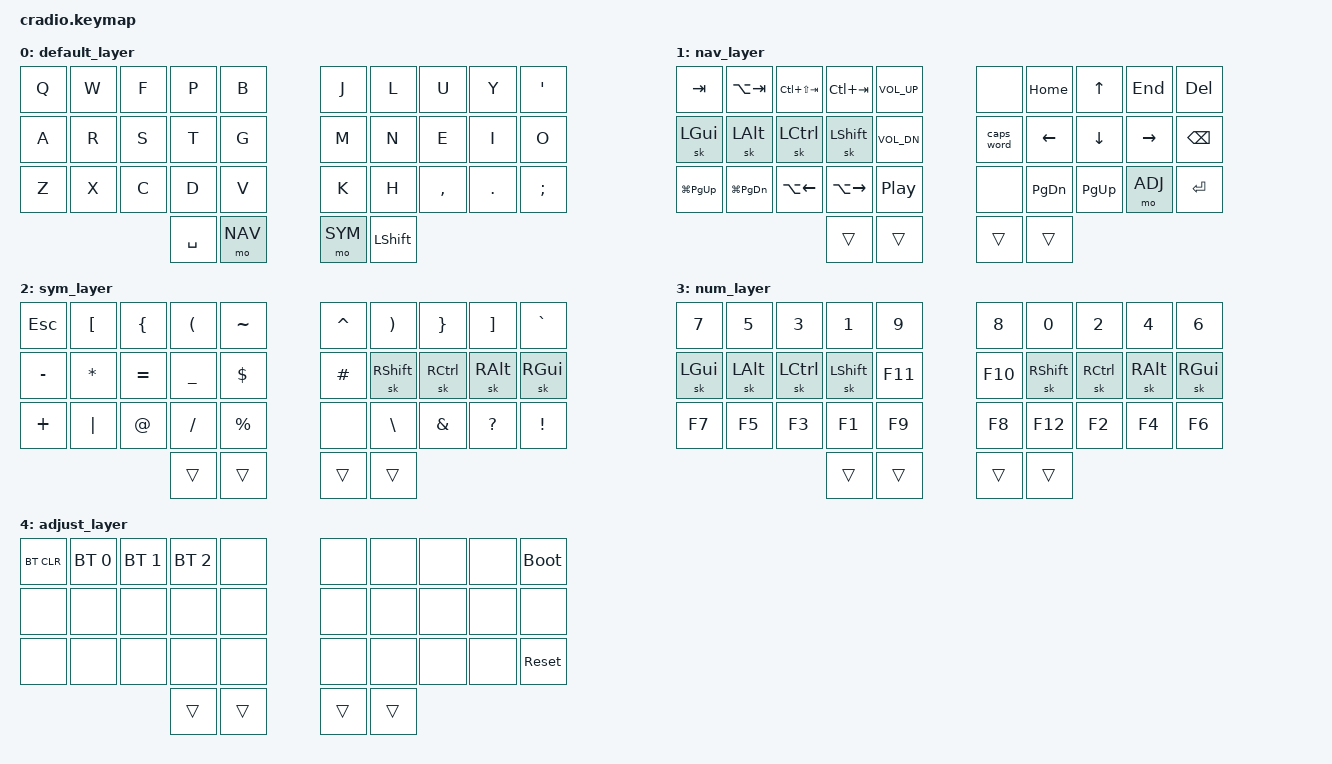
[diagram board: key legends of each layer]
/*
 * Copyright (c) 2020 The ZMK Contributors
 *
 * SPDX-License-Identifier: MIT
 *
 * Callum's layout (github.com/callum-oakley/qmk_firmware, users/callum),
 * ported to ZMK on a Colemak-DH base. Differences from the original:
 *   - Thumbs are SPACE / NAV / SYM / SHIFT (Callum: NAV / SHIFT / SPACE / SYM).
 *     Backspace lives on NAV (O position), as in Callum's original.
 *   - One-shot mod order kept as GUI ALT CTRL SHIFT (pinky -> index).
 *   - macOS shortcuts swapped for Linux / niri equivalents on the nav layer.
 *   - Bluetooth + bootloader live on a separate adjust layer (NAV + hold the "." key).
 */

#include <behaviors.dtsi>
#include <dt-bindings/zmk/keys.h>
#include <dt-bindings/zmk/bt.h>

#define DEF 0
#define NAV 1
#define SYM 2
#define NUM 3
#define ADJ 4

&sk {
    release-after-ms = <2000>;
    quick-release;
};

/ {
    combos {
        compatible = "zmk,combos";

        combo_esc {
            timeout-ms = <50>;
            key-positions = <0 1>;
            bindings = <&kp ESC>;
        };

        combo_tab {
            timeout-ms = <50>;
            key-positions = <1 2>;
            bindings = <&kp TAB>;
        };

        combo_enter {
            timeout-ms = <50>;
            key-positions = <22 23>;
            bindings = <&kp ENTER>;
        };
    };

    conditional_layers {
        compatible = "zmk,conditional-layers";

        tri_layer {
            if-layers = <NAV SYM>;
            then-layer = <NUM>;
        };
    };

    keymap {
        compatible = "zmk,keymap";

        default_layer {
            bindings = <
    &kp Q  &kp W  &kp F  &kp P  &kp B        &kp J  &kp L  &kp U      &kp Y    &kp SQT
    &kp A  &kp R  &kp S  &kp T  &kp G        &kp M  &kp N  &kp E      &kp I    &kp O
    &kp Z  &kp X  &kp C  &kp D  &kp V        &kp K  &kp H  &kp COMMA  &kp DOT  &kp SEMI
                        &kp SPACE  &mo NAV   &mo SYM  &kp LSHFT
            >;
        };

        // Left: tab, window/tab switching, one-shot mods, workspaces, browser back/fwd, media.
        // Right: arrows, home/end, page up/down, delete/backspace/enter.
        nav_layer {
            bindings = <
    &kp TAB        &kp LA(TAB)    &kp LC(LS(TAB))  &kp LC(TAB)   &kp C_VOL_UP        &none        &kp HOME     &kp UP     &kp END    &kp DEL
    &sk LGUI       &sk LALT       &sk LCTRL        &sk LSHFT     &kp C_VOL_DN        &caps_word   &kp LEFT     &kp DOWN   &kp RIGHT  &kp BSPC
    &kp LG(PG_UP)  &kp LG(PG_DN)  &kp LA(LEFT)     &kp LA(RIGHT) &kp C_PP            &none        &kp PG_DN    &kp PG_UP  &mo ADJ    &kp ENTER
                                                   &trans        &trans              &trans       &trans
            >;
        };

        sym_layer {
            bindings = <
    &kp ESC    &kp LBKT   &kp LBRC   &kp LPAR   &kp TILDE         &kp CARET  &kp RPAR   &kp RBRC   &kp RBKT   &kp GRAVE
    &kp MINUS  &kp ASTRK  &kp EQUAL  &kp UNDER  &kp DOLLAR        &kp HASH   &sk RSHFT  &sk RCTRL  &sk RALT   &sk RGUI
    &kp PLUS   &kp PIPE   &kp AT     &kp FSLH   &kp PRCNT         &none      &kp BSLH   &kp AMPS   &kp QMARK  &kp EXCL
                                     &trans     &trans            &trans     &trans
            >;
        };

        // Hold NAV + SYM together.
        num_layer {
            bindings = <
    &kp N7    &kp N5    &kp N3     &kp N1     &kp N9            &kp N8   &kp N0     &kp N2     &kp N4    &kp N6
    &sk LGUI  &sk LALT  &sk LCTRL  &sk LSHFT  &kp F11           &kp F10  &sk RSHFT  &sk RCTRL  &sk RALT  &sk RGUI
    &kp F7    &kp F5    &kp F3     &kp F1     &kp F9            &kp F8   &kp F12    &kp F2     &kp F4    &kp F6
                                   &trans     &trans            &trans   &trans
            >;
        };

        // Hold NAV, then hold the "." key position.
        adjust_layer {
            bindings = <
    &bt BT_CLR  &bt BT_SEL 0  &bt BT_SEL 1  &bt BT_SEL 2  &none         &none  &none  &none  &none  &bootloader
    &none       &none         &none         &none         &none         &none  &none  &none  &none  &none
    &none       &none         &none         &none         &none         &none  &none  &none  &none  &sys_reset
                                            &trans        &trans        &trans &trans
            >;
        };
    };
};
